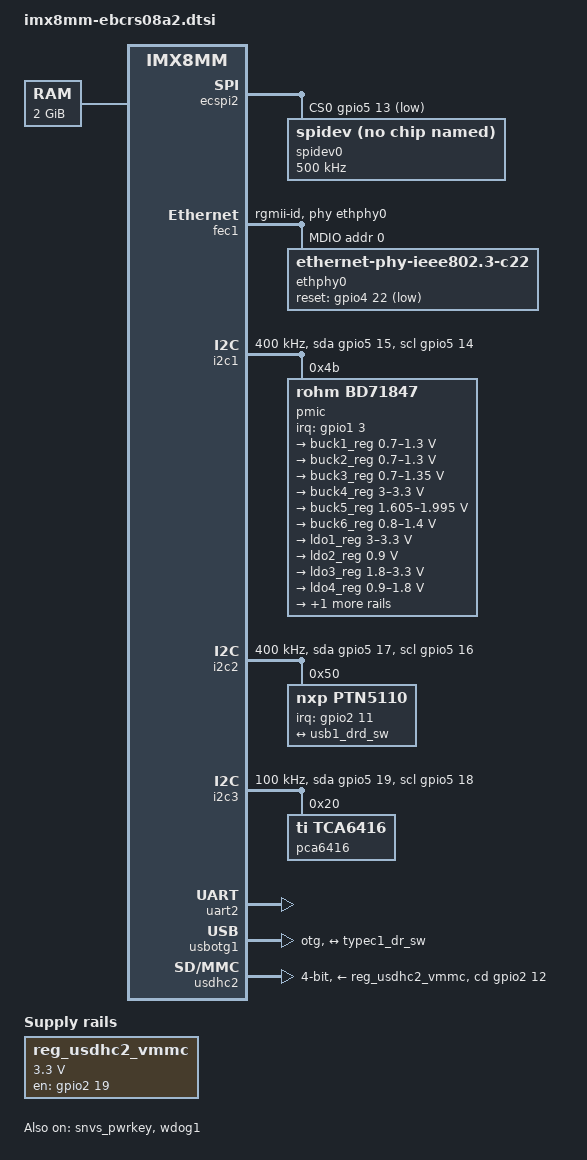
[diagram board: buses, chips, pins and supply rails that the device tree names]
// SPDX-License-Identifier: (GPL-2.0+ OR MIT)
/*
 * Copyright 2020 NXP
 */

/dts-v1/;

#include <dt-bindings/usb/pd.h>
#include "imx8mm.dtsi"

/ {
	chosen {
		stdout-path = &uart2;
	};

	memory@40000000 {
		device_type = "memory";
		reg = <0x0 0x40000000 0 0x80000000>;
	};

	leds {
		compatible = "gpio-leds";
		pinctrl-names = "default";
		pinctrl-0 = <&pinctrl_gpio_led>;
		status = "disabled";

		status {
			label = "status";
			gpios = <&gpio3 16 GPIO_ACTIVE_HIGH>;
			default-state = "on";
		};
	};

	reg_usdhc2_vmmc: regulator-usdhc2 {
		compatible = "regulator-fixed";
		pinctrl-names = "default";
		pinctrl-0 = <&pinctrl_reg_usdhc2_vmmc>;
		regulator-name = "VSD_3V3";
		regulator-min-microvolt = <3300000>;
		regulator-max-microvolt = <3300000>;
		gpio = <&gpio2 19 GPIO_ACTIVE_HIGH>;
		enable-active-high;
	};

	dsi_host: dsi-host {
		compatible = "samsung,sec-mipi-dsi";
		status = "disabled";
	};
};

&A53_0 {
	cpu-supply = <&buck2_reg>;
};

&A53_1 {
	cpu-supply = <&buck2_reg>;
};

&A53_2 {
	cpu-supply = <&buck2_reg>;
};

&A53_3 {
	cpu-supply = <&buck2_reg>;
};


&ecspi2 {
	#address-cells = <1>;
	#size-cells = <0>;
	fsl,spi-num-chipselects = <1>;
	pinctrl-names = "default";
	pinctrl-0 = <&pinctrl_ecspi2 &pinctrl_ecspi2_cs>;
	cs-gpios = <&gpio5 13 GPIO_ACTIVE_LOW>;
	status = "okay";

	spidev0: spi@0 {
		reg = <0>;
		compatible = "rohm,dh2228fv";
		spi-max-frequency = <500000>;
	};
};

&fec1 {
	pinctrl-names = "default";
	pinctrl-0 = <&pinctrl_fec1>;
	phy-mode = "rgmii-id";
	phy-handle = <&ethphy0>;
	fsl,magic-packet;
	status = "okay";

	mdio {
		#address-cells = <1>;
		#size-cells = <0>;

		ethphy0: ethernet-phy@0 {
			compatible = "ethernet-phy-ieee802.3-c22";
			reg = <0>;
			reset-gpios = <&gpio4 22 GPIO_ACTIVE_LOW>;
			reset-assert-us = <10000>;
		};
	};
};

&i2c1 {
	clock-frequency = <400000>;
	pinctrl-names = "default", "gpio";
	pinctrl-0 = <&pinctrl_i2c1>;
	pinctrl-1 = <&pinctrl_i2c1_gpio>;
	scl-gpios = <&gpio5 14 GPIO_ACTIVE_HIGH>;
	sda-gpios = <&gpio5 15 GPIO_ACTIVE_HIGH>;
	status = "okay";

	pmic@4b {
		compatible = "rohm,bd71847";
		reg = <0x4b>;
		pinctrl-0 = <&pinctrl_pmic>;
		interrupt-parent = <&gpio1>;
		interrupts = <3 GPIO_ACTIVE_LOW>;
		rohm,reset-snvs-powered;

		regulators {
			buck1_reg: BUCK1 {
				regulator-name = "BUCK1";
				regulator-min-microvolt = <700000>;
				regulator-max-microvolt = <1300000>;
				regulator-boot-on;
				regulator-always-on;
				regulator-ramp-delay = <1250>;
			};

			buck2_reg: BUCK2 {
				regulator-name = "BUCK2";
				regulator-min-microvolt = <700000>;
				regulator-max-microvolt = <1300000>;
				regulator-boot-on;
				regulator-always-on;
				regulator-ramp-delay = <1250>;
				rohm,dvs-run-voltage = <1000000>;
				rohm,dvs-idle-voltage = <900000>;
			};

			buck3_reg: BUCK3 {
				// BUCK5 in datasheet
				regulator-name = "BUCK3";
				regulator-min-microvolt = <700000>;
				regulator-max-microvolt = <1350000>;
				regulator-boot-on;
				regulator-always-on;
			};

			buck4_reg: BUCK4 {
				// BUCK6 in datasheet
				regulator-name = "BUCK4";
				regulator-min-microvolt = <3000000>;
				regulator-max-microvolt = <3300000>;
				regulator-boot-on;
				regulator-always-on;
			};

			buck5_reg: BUCK5 {
				// BUCK7 in datasheet
				regulator-name = "BUCK5";
				regulator-min-microvolt = <1605000>;
				regulator-max-microvolt = <1995000>;
				regulator-boot-on;
				regulator-always-on;
			};

			buck6_reg: BUCK6 {
				// BUCK8 in datasheet
				regulator-name = "BUCK6";
				regulator-min-microvolt = <800000>;
				regulator-max-microvolt = <1400000>;
				regulator-boot-on;
				regulator-always-on;
			};

			ldo1_reg: LDO1 {
				regulator-name = "LDO1";
				regulator-min-microvolt = <3000000>;
				regulator-max-microvolt = <3300000>;
				regulator-boot-on;
				regulator-always-on;
			};

			ldo2_reg: LDO2 {
				regulator-name = "LDO2";
				regulator-min-microvolt = <900000>;
				regulator-max-microvolt = <900000>;
				regulator-boot-on;
				regulator-always-on;
			};

			ldo3_reg: LDO3 {
				regulator-name = "LDO3";
				regulator-min-microvolt = <1800000>;
				regulator-max-microvolt = <3300000>;
				regulator-boot-on;
				regulator-always-on;
			};

			ldo4_reg: LDO4 {
				regulator-name = "LDO4";
				regulator-min-microvolt = <900000>;
				regulator-max-microvolt = <1800000>;
				regulator-boot-on;
				regulator-always-on;
			};

			ldo6_reg: LDO6 {
				regulator-name = "LDO6";
				regulator-min-microvolt = <900000>;
				regulator-max-microvolt = <1800000>;
				regulator-boot-on;
				regulator-always-on;
			};
		};
	};
};

&i2c2 {
	clock-frequency = <400000>;
	pinctrl-names = "default", "gpio";
	pinctrl-0 = <&pinctrl_i2c2>;
	pinctrl-1 = <&pinctrl_i2c2_gpio>;
	scl-gpios = <&gpio5 16 GPIO_ACTIVE_HIGH>;
	sda-gpios = <&gpio5 17 GPIO_ACTIVE_HIGH>;
	status = "okay";

	ptn5110: tcpc@50 {
		compatible = "nxp,ptn5110";
		pinctrl-names = "default";
		pinctrl-0 = <&pinctrl_typec1>;
		reg = <0x50>;
		interrupt-parent = <&gpio2>;
		interrupts = <11 8>;
		status = "okay";

		port {
			typec1_dr_sw: endpoint {
				remote-endpoint = <&usb1_drd_sw>;
			};
		};

		typec1_con: connector {
			compatible = "usb-c-connector";
			label = "USB-C";
			power-role = "dual";
			data-role = "dual";
			try-power-role = "sink";
			source-pdos = <PDO_FIXED(5000, 3000, PDO_FIXED_USB_COMM)>;
			sink-pdos = <PDO_FIXED(5000, 3000, PDO_FIXED_USB_COMM)
				     PDO_VAR(5000, 20000, 3000)>;
			op-sink-microwatt = <15000000>;
			self-powered;
		};
	};
};

&i2c3 {
	clock-frequency = <100000>;
	pinctrl-names = "default", "gpio";
	pinctrl-0 = <&pinctrl_i2c3>;
	pinctrl-1 = <&pinctrl_i2c3_gpio>;
	scl-gpios = <&gpio5 18 GPIO_ACTIVE_HIGH>;
	sda-gpios = <&gpio5 19 GPIO_ACTIVE_HIGH>;
	status = "okay";

	pca6416: gpio@20 {
		compatible = "ti,tca6416";
		reg = <0x20>;
		gpio-controller;
		#gpio-cells = <2>;
	};
};

&sai3 {
	pinctrl-names = "default";
	pinctrl-0 = <&pinctrl_sai3>;
	assigned-clocks = <&clk IMX8MM_CLK_SAI3>;
	assigned-clock-parents = <&clk IMX8MM_AUDIO_PLL1_OUT>;
	assigned-clock-rates = <24576000>;
	status = "disabled";
};

&snvs_pwrkey {
	status = "okay";
};

&uart2 { /* console */
	pinctrl-names = "default";
	pinctrl-0 = <&pinctrl_uart2>;
	status = "okay";
};

&usbotg1 {
	dr_mode = "otg";
	hnp-disable;
	srp-disable;
	adp-disable;
	usb-role-switch;
	disable-over-current;
	samsung,picophy-pre-emp-curr-control = <3>;
	samsung,picophy-dc-vol-level-adjust = <7>;
	status = "okay";

	port {
		usb1_drd_sw: endpoint {
			remote-endpoint = <&typec1_dr_sw>;
		};
	};
};

&usdhc2 {
	assigned-clocks = <&clk IMX8MM_CLK_USDHC2>;
	assigned-clock-rates = <200000000>;
	pinctrl-names = "default", "state_100mhz", "state_200mhz";
	pinctrl-0 = <&pinctrl_usdhc2>, <&pinctrl_usdhc2_gpio>;
	pinctrl-1 = <&pinctrl_usdhc2_100mhz>, <&pinctrl_usdhc2_gpio>;
	pinctrl-2 = <&pinctrl_usdhc2_200mhz>, <&pinctrl_usdhc2_gpio>;
	cd-gpios = <&gpio2 12 GPIO_ACTIVE_HIGH>;
	bus-width = <4>;
	vmmc-supply = <&reg_usdhc2_vmmc>;
	// startup-delay-us = <200000>;
	status = "okay";
};

&wdog1 {
	pinctrl-names = "default";
	pinctrl-0 = <&pinctrl_wdog>;
	fsl,ext-reset-output;
	status = "okay";
};

&lcdif {
	display = <&display0>;
	status = "disabled";

	display0: display@0 {
		bits-per-pixel = <24>;
		bus-width = <24>;
	};
};

&mipi_dsi {
	status = "disabled";
};

&iomuxc {
	pinctrl_ecspi2: ecspi2grp {
		fsl,pins = <
			MX8MM_IOMUXC_ECSPI2_SCLK_ECSPI2_SCLK		0x82
			MX8MM_IOMUXC_ECSPI2_MOSI_ECSPI2_MOSI		0x82
			MX8MM_IOMUXC_ECSPI2_MISO_ECSPI2_MISO		0x82
		>;
	};

	pinctrl_ecspi2_cs: ecspi2cs {
		fsl,pins = <
			MX8MM_IOMUXC_ECSPI2_SS0_GPIO5_IO13		0x40000
		>;
	};

	pinctrl_fec1: fec1grp {
		fsl,pins = <
			MX8MM_IOMUXC_ENET_MDC_ENET1_MDC			0x3
			MX8MM_IOMUXC_ENET_MDIO_ENET1_MDIO		0x3
			MX8MM_IOMUXC_ENET_TD3_ENET1_RGMII_TD3		0x1f
			MX8MM_IOMUXC_ENET_TD2_ENET1_RGMII_TD2		0x1f
			MX8MM_IOMUXC_ENET_TD1_ENET1_RGMII_TD1		0x1f
			MX8MM_IOMUXC_ENET_TD0_ENET1_RGMII_TD0		0x1f
			MX8MM_IOMUXC_ENET_RD3_ENET1_RGMII_RD3		0x91
			MX8MM_IOMUXC_ENET_RD2_ENET1_RGMII_RD2		0x91
			MX8MM_IOMUXC_ENET_RD1_ENET1_RGMII_RD1		0x91
			MX8MM_IOMUXC_ENET_RD0_ENET1_RGMII_RD0		0x91
			MX8MM_IOMUXC_ENET_TXC_ENET1_RGMII_TXC		0x1f
			MX8MM_IOMUXC_ENET_RXC_ENET1_RGMII_RXC		0x91
			MX8MM_IOMUXC_ENET_RX_CTL_ENET1_RGMII_RX_CTL	0x91
			MX8MM_IOMUXC_ENET_TX_CTL_ENET1_RGMII_TX_CTL	0x1f
			MX8MM_IOMUXC_SAI2_RXC_GPIO4_IO22		0x19
		>;
	};

	pinctrl_gpio_led: gpioledgrp {
		fsl,pins = <
			MX8MM_IOMUXC_NAND_READY_B_GPIO3_IO16	0x19
		>;
	};

	pinctrl_ir: irgrp {
		fsl,pins = <
			MX8MM_IOMUXC_GPIO1_IO13_GPIO1_IO13              0x4f
		>;
	};

	pinctrl_gpio_wlf: gpiowlfgrp {
		fsl,pins = <
			MX8MM_IOMUXC_I2C4_SDA_GPIO5_IO21	0xd6
		>;
	};

	pinctrl_i2c1: i2c1grp {
		fsl,pins = <
			MX8MM_IOMUXC_I2C1_SCL_I2C1_SCL			0x400001c3
			MX8MM_IOMUXC_I2C1_SDA_I2C1_SDA			0x400001c3
		>;
	};

	pinctrl_i2c2: i2c2grp {
		fsl,pins = <
			MX8MM_IOMUXC_I2C2_SCL_I2C2_SCL			0x400001c3
			MX8MM_IOMUXC_I2C2_SDA_I2C2_SDA			0x400001c3
		>;
	};

	pinctrl_i2c3: i2c3grp {
		fsl,pins = <
			MX8MM_IOMUXC_I2C3_SCL_I2C3_SCL			0x400001c3
			MX8MM_IOMUXC_I2C3_SDA_I2C3_SDA			0x400001c3
		>;
	};

	pinctrl_i2c1_gpio: i2c1grp-gpio {
		fsl,pins = <
			MX8MM_IOMUXC_I2C1_SCL_GPIO5_IO14        		0x1c3
			MX8MM_IOMUXC_I2C1_SDA_GPIO5_IO15        	0x1c3
		>;
	};

	pinctrl_i2c2_gpio: i2c2grp-gpio {
		fsl,pins = <
			MX8MM_IOMUXC_I2C2_SCL_GPIO5_IO16        		0x1c3
			MX8MM_IOMUXC_I2C2_SDA_GPIO5_IO17        	0x1c3
		>;
	};

	pinctrl_i2c3_gpio: i2c3grp-gpio {
		fsl,pins = <
			MX8MM_IOMUXC_I2C3_SCL_GPIO5_IO18        		0x1c3
			MX8MM_IOMUXC_I2C3_SDA_GPIO5_IO19        	0x1c3
		>;
	};

	pinctrl_pmic: pmicirqgrp {
		fsl,pins = <
			MX8MM_IOMUXC_GPIO1_IO03_GPIO1_IO3		0x141
		>;
	};

	pinctrl_reg_usdhc2_vmmc: regusdhc2vmmcgrp {
		fsl,pins = <
			MX8MM_IOMUXC_SD2_RESET_B_GPIO2_IO19	0x41
		>;
	};

	pinctrl_sai3: sai3grp {
		fsl,pins = <
			MX8MM_IOMUXC_SAI3_TXFS_SAI3_TX_SYNC     0xd6
			MX8MM_IOMUXC_SAI3_TXC_SAI3_TX_BCLK      0xd6
			MX8MM_IOMUXC_SAI3_MCLK_SAI3_MCLK        0xd6
			MX8MM_IOMUXC_SAI3_TXD_SAI3_TX_DATA0     0xd6
		>;
	};

	pinctrl_typec1: typec1grp {
		fsl,pins = <
			MX8MM_IOMUXC_SD1_STROBE_GPIO2_IO11	0x159
		>;
	};

	pinctrl_uart2: uart2grp {
		fsl,pins = <
			MX8MM_IOMUXC_UART2_RXD_UART2_DCE_RX	0x140
			MX8MM_IOMUXC_UART2_TXD_UART2_DCE_TX	0x140
		>;
	};

	pinctrl_usdhc2_gpio: usdhc2grpgpiogrp {
		fsl,pins = <
			MX8MM_IOMUXC_SD2_CD_B_GPIO2_IO12	0x1c4
		>;
	};

	pinctrl_usdhc2: usdhc2grp {
		fsl,pins = <
			MX8MM_IOMUXC_SD2_CLK_USDHC2_CLK		0x190
			MX8MM_IOMUXC_SD2_CMD_USDHC2_CMD		0x1d0
			MX8MM_IOMUXC_SD2_DATA0_USDHC2_DATA0	0x1d0
			MX8MM_IOMUXC_SD2_DATA1_USDHC2_DATA1	0x1d0
			MX8MM_IOMUXC_SD2_DATA2_USDHC2_DATA2	0x1d0
			MX8MM_IOMUXC_SD2_DATA3_USDHC2_DATA3	0x1d0
			MX8MM_IOMUXC_GPIO1_IO04_USDHC2_VSELECT	0x1d0
		>;
	};

	pinctrl_usdhc2_100mhz: usdhc2-100mhzgrp {
		fsl,pins = <
			MX8MM_IOMUXC_SD2_CLK_USDHC2_CLK		0x194
			MX8MM_IOMUXC_SD2_CMD_USDHC2_CMD		0x1d4
			MX8MM_IOMUXC_SD2_DATA0_USDHC2_DATA0	0x1d4
			MX8MM_IOMUXC_SD2_DATA1_USDHC2_DATA1	0x1d4
			MX8MM_IOMUXC_SD2_DATA2_USDHC2_DATA2	0x1d4
			MX8MM_IOMUXC_SD2_DATA3_USDHC2_DATA3	0x1d4
			MX8MM_IOMUXC_GPIO1_IO04_USDHC2_VSELECT	0x1d0
		>;
	};

	pinctrl_usdhc2_200mhz: usdhc2-200mhzgrp {
		fsl,pins = <
			MX8MM_IOMUXC_SD2_CLK_USDHC2_CLK		0x196
			MX8MM_IOMUXC_SD2_CMD_USDHC2_CMD		0x1d6
			MX8MM_IOMUXC_SD2_DATA0_USDHC2_DATA0	0x1d6
			MX8MM_IOMUXC_SD2_DATA1_USDHC2_DATA1	0x1d6
			MX8MM_IOMUXC_SD2_DATA2_USDHC2_DATA2	0x1d6
			MX8MM_IOMUXC_SD2_DATA3_USDHC2_DATA3	0x1d6
			MX8MM_IOMUXC_GPIO1_IO04_USDHC2_VSELECT	0x1d0
		>;
	};

	pinctrl_wdog: wdoggrp {
		fsl,pins = <
			MX8MM_IOMUXC_GPIO1_IO02_WDOG1_WDOG_B	0xc6
		>;
	};

	pinctrl_mipi_dsi_en: mipi_dsi_en {
		fsl,pins = <
			MX8MM_IOMUXC_GPIO1_IO08_GPIO1_IO8		0x19
		>;
	};
};
